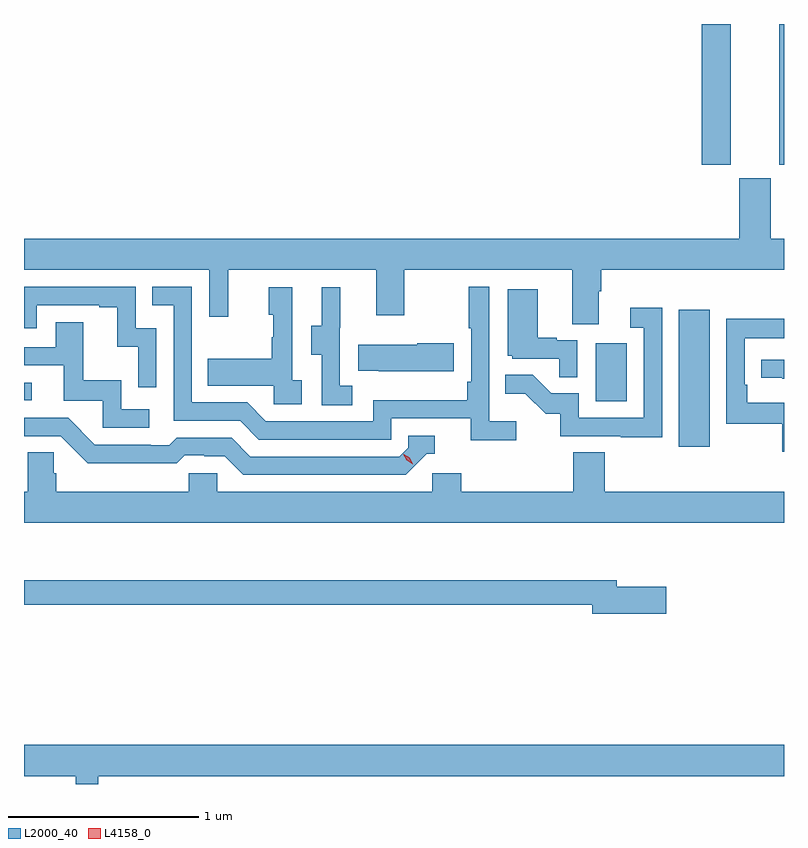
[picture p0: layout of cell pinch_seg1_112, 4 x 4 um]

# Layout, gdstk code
import gdstk
lib = gdstk.Library(unit=1e-6, precision=1e-09)
def R(c, l, rs):  # rectangles x0, y0, x1, y1
    for r in rs: c.add(gdstk.rectangle(r[:2], r[2:], *l))
def P(c, l, *ps):  # polygons
    for p in ps: c.add(gdstk.Polygon(p, *l))
L2000_40 = (2000, 40)
L4158_0 = (4158, 0)

pinch_seg1_112 = lib.new_cell('pinch_seg1_112')
R(pinch_seg1_112, L2000_40, [(1062.68,560.124,1062.841,560.845), (1062.242,560.364,1062.406,560.671), (1059.233,560.37,1059.274,560.463), (1062.8,561.609,1062.952,562.35), (1063.208,561.609,1063.233,562.35)])
P(pinch_seg1_112, L2000_40, [(1062.259,560.944),(1062.272,560.944),(1062.272,561.056),(1063.233,561.056),(1063.233,561.22),(1063.162,561.22),(1063.162,561.537),(1062.998,561.537),(1062.998,561.22),(1059.233,561.22),(1059.233,561.056),(1060.209,561.056),(1060.209,560.808),(1060.307,560.808),(1060.307,561.056),(1061.087,561.056),(1061.087,560.817),(1061.235,560.817),(1061.235,561.056),(1062.119,561.056),(1062.119,560.77),(1062.259,560.77)],
  [(1061.824,560.26),(1061.682,560.26),(1061.682,560.968),(1061.574,560.968),(1061.574,560.749),(1061.586,560.749),(1061.586,560.467),(1061.566,560.467),(1061.566,560.371),(1061.07,560.371),(1061.07,560.259),(1060.506,560.259),(1060.407,560.358),(1060.116,560.358),(1060.116,560.967),(1059.907,560.967),(1059.907,560.871),(1060.02,560.871),(1060.02,560.262),(1060.37,560.262),(1060.469,560.163),(1061.166,560.163),(1061.166,560.274),(1061.585,560.274),(1061.585,560.158),(1061.824,560.158)],
  [(1059.93,560.748),(1059.822,560.748),(1059.822,560.967),(1059.233,560.967),(1059.233,560.748),(1059.3,560.748),(1059.3,560.871),(1059.629,560.871),(1059.629,560.859),(1059.725,560.859),(1059.725,560.651),(1059.834,560.651),(1059.834,560.439),(1059.93,560.439)],
  [(1060.696,560.474),(1060.644,560.474),(1060.644,560.965),(1060.52,560.965),(1060.52,560.82),(1060.546,560.82),(1060.546,560.702),(1060.536,560.702),(1060.536,560.587),(1060.201,560.587),(1060.201,560.447),(1060.548,560.447),(1060.548,560.349),(1060.696,560.349)],
  [(1060.96,560.447),(1060.896,560.447),(1060.896,560.751),(1060.898,560.751),(1060.898,560.965),(1060.799,560.965),(1060.799,560.763),(1060.745,560.763),(1060.745,560.608),(1060.8,560.608),(1060.8,560.344),(1060.96,560.344)],
  [(1062.144,560.685),(1062.038,560.685),(1062.038,560.698),(1061.938,560.698),(1061.938,560.953),(1061.78,560.953),(1061.78,560.604),(1061.802,560.604),(1061.802,560.589),(1062.049,560.589),(1062.049,560.491),(1062.144,560.491)],
  [(1062.591,560.857),(1062.423,560.857),(1062.423,560.751),(1062.495,560.751),(1062.495,560.277),(1062.153,560.277),(1062.153,560.406),(1062.009,560.406),(1061.911,560.504),(1061.767,560.504),(1061.767,560.405),(1061.871,560.405),(1061.978,560.298),(1062.055,560.298),(1062.055,560.181),(1062.373,560.181),(1062.373,560.176),(1062.591,560.176)],
  [(1063.233,560.356),(1063.04,560.356),(1063.04,560.452),(1063.026,560.452),(1063.026,560.697),(1063.233,560.697),(1063.233,560.798),(1062.93,560.798),(1062.93,560.247),(1063.224,560.247),(1063.224,560.1),(1063.233,560.1)],
  [(1059.892,560.322),(1059.744,560.322),(1059.744,560.476),(1059.545,560.476),(1059.545,560.779),(1059.401,560.779),(1059.401,560.649),(1059.233,560.649),(1059.233,560.553),(1059.443,560.553),(1059.443,560.367),(1059.648,560.367),(1059.648,560.226),(1059.892,560.226)],
  [(1061.494,560.67),(1061.303,560.67),(1061.303,560.662),(1060.993,560.662),(1060.993,560.525),(1061.101,560.525),(1061.101,560.522),(1061.494,560.522)],
  [(1063.233,560.583),(1063.113,560.583),(1063.113,560.487),(1063.225,560.487),(1063.225,560.482),(1063.233,560.482)],
  [(1061.352,560.088),(1061.395,560.088),(1061.395,560.184),(1061.256,560.184),(1061.256,560.121),(1061.208,560.073),(1060.425,560.073),(1060.326,560.172),(1060.037,560.172),(1059.998,560.133),(1059.899,560.133),(1059.899,560.136),(1059.606,560.136),(1059.465,560.277),(1059.233,560.277),(1059.233,560.181),(1059.426,560.181),(1059.568,560.039),(1059.804,560.039),(1059.804,560.037),(1060.037,560.037),(1060.079,560.079),(1060.182,560.079),(1060.182,560.076),(1060.289,560.076),(1060.388,559.977),(1061.241,559.977)],
  [(1063.233,559.888),(1062.29,559.888),(1062.29,560.096),(1062.125,560.096),(1062.125,559.888),(1061.534,559.888),(1061.534,559.986),(1061.382,559.986),(1061.382,559.888),(1060.251,559.888),(1060.251,559.986),(1060.101,559.986),(1060.101,559.888),(1059.404,559.888),(1059.404,559.986),(1059.389,559.986),(1059.389,560.096),(1059.252,560.096),(1059.252,559.888),(1059.233,559.888),(1059.233,559.724),(1063.233,559.724)],
  [(1062.613,559.389),(1062.352,559.389),(1062.352,559.423),(1059.233,559.423),(1059.233,559.294),(1062.224,559.294),(1062.224,559.247),(1062.613,559.247)],
  [(1059.623,558.392),(1063.233,558.392),(1063.233,558.556),(1059.233,558.556),(1059.233,558.392),(1059.506,558.392),(1059.506,558.35),(1059.623,558.35)])
P(pinch_seg1_112, L4158_0, [(1061.278,560.034),(1061.247,560.053),(1061.23,560.086),(1061.23,560.086),(1061.231,560.086),(1061.262,560.067),(1061.278,560.034),(1061.278,560.034)])

lib.write_gds('pinch_seg1_112.gds')
